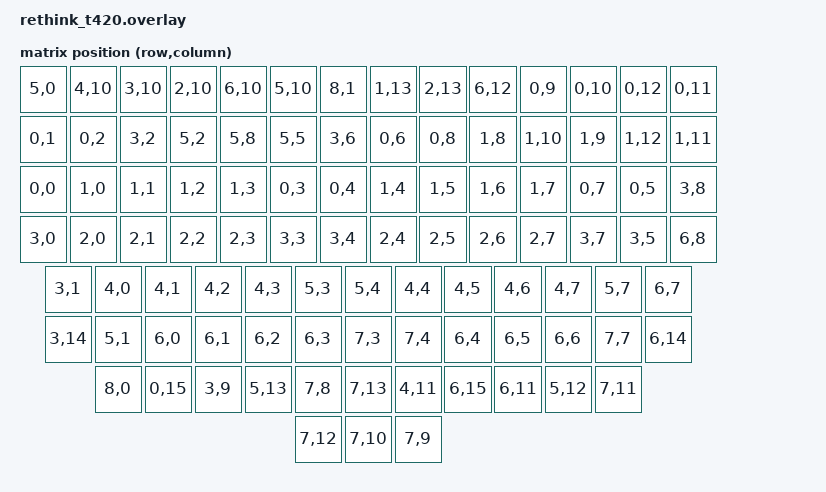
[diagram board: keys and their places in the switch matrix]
/*
 * Copyright (c) 2026 Ziemniaczenka
 * SPDX-License-Identifier: MIT
 *
 * ThinkPad T420 keyboard on the Mezzanine connector (2x20 pins). ISO, 96
 * keys: the keyboard, the volume, mic mute and ThinkVantage buttons above
 * it, Fn on HOTKEY and the power button on PWRSWITCH. Mapped with
 * scripts/matrix_scan.py on a Norwegian T420 keyboard; the comments name the
 * keys by their UK ISO legends.
 *
 * KBDID0-2 (Mezzanine 25, 27, 29) meet the adapter's backlight PWM, GND and
 * BL_5V: no backlight here, so P1.17 stays unused and JP3 must stay open.
 * The Caps Lock LED (Mezzanine 21) follows the host; the power, mute and mic
 * mute LEDs rest on their pull-ups. The TrackPoint (Mezzanine 37-40) is TP1,
 * a mouse; its three buttons under the space bar are wired to the stick.
 */

#include <dt-bindings/zmk/matrix_transform.h>

#include "../rethink_common/rethink_cb.dtsi"
#include "../rethink_common/rethink_adapter.dtsi"
#include "../rethink_common/rethink_adapter_matrix.dtsi"
#include "../rethink_common/rethink_trackpoint.dtsi"

&rethink_adapter {
    capslock-led-gpios = <&rethink_expander RETHINK_EXP_LEDCPSLOCK 0>;
};

/ {
    chosen {
        zmk,physical-layout = &t420_layout;
    };

    t420_layout: t420_layout {
        compatible = "zmk,physical-layout";
        display-name = "T420 ISO";
        transform = <&t420_transform>;
    };

    // Keys left to right, row by row; RC(r,c) = SENSEr x DRVc, row 8 = HOTKEY
    // (0) and PWRSWITCH (1)
    t420_transform: t420_transform {
        compatible = "zmk,matrix-transform";
        rows = <9>;
        columns = <18>;
        map = <
            // Esc      Mute      VolDn     VolUp     MicMute   ThinkVantage  Power    PrtSc     ScrLk     Pause     Insert   Delete    Home      PgUp
               RC(5,0)  RC(4,10)  RC(3,10)  RC(2,10)  RC(6,10)  RC(5,10)      RC(8,1)  RC(1,13)  RC(2,13)  RC(6,12)  RC(0,9)  RC(0,10)  RC(0,12)  RC(0,11)
            // F1       F2       F3       F4       F5       F6       F7       F8       F9       F10      F11       F12      End       PgDn
               RC(0,1)  RC(0,2)  RC(3,2)  RC(5,2)  RC(5,8)  RC(5,5)  RC(3,6)  RC(0,6)  RC(0,8)  RC(1,8)  RC(1,10)  RC(1,9)  RC(1,12)  RC(1,11)
            // `        1        2        3        4        5        6        7        8        9        0        -        =        Bksp
               RC(0,0)  RC(1,0)  RC(1,1)  RC(1,2)  RC(1,3)  RC(0,3)  RC(0,4)  RC(1,4)  RC(1,5)  RC(1,6)  RC(1,7)  RC(0,7)  RC(0,5)  RC(3,8)
            // Tab      Q        W        E        R        T        Y        U        I        O        P        [        ]        Enter
               RC(3,0)  RC(2,0)  RC(2,1)  RC(2,2)  RC(2,3)  RC(3,3)  RC(3,4)  RC(2,4)  RC(2,5)  RC(2,6)  RC(2,7)  RC(3,7)  RC(3,5)  RC(6,8)
            // Caps     A        S        D        F        G        H        J        K        L        ;        '        #
               RC(3,1)  RC(4,0)  RC(4,1)  RC(4,2)  RC(4,3)  RC(5,3)  RC(5,4)  RC(4,4)  RC(4,5)  RC(4,6)  RC(4,7)  RC(5,7)  RC(6,7)
            // LShift    \        Z        X        C        V        B        N        M        ,        .        /        RShift
               RC(3,14)  RC(5,1)  RC(6,0)  RC(6,1)  RC(6,2)  RC(6,3)  RC(7,3)  RC(7,4)  RC(6,4)  RC(6,5)  RC(6,6)  RC(7,7)  RC(6,14)
            // Fn       LCtrl     Win      LAlt      Space    AltGr     Menu      RCtrl     Back      Up        Forward
               RC(8,0)  RC(0,15)  RC(3,9)  RC(5,13)  RC(7,8)  RC(7,13)  RC(4,11)  RC(6,15)  RC(6,11)  RC(5,12)  RC(7,11)
            // Left      Down      Right
               RC(7,12)  RC(7,10)  RC(7,9)
        >;
    };
};
